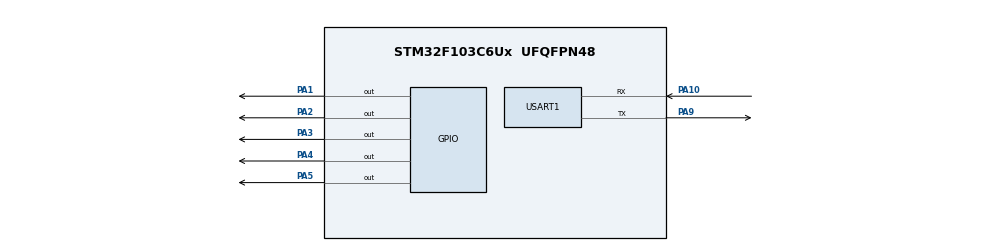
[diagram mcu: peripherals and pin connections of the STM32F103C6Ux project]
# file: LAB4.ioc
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Mcu.Family=STM32F1
Mcu.Name=STM32F103C6Ux
Mcu.Package=UFQFPN48
NVIC.PriorityGroup=NVIC_PRIORITYGROUP_4
NVIC.TIM2_IRQn=true\:0\:0\:false\:false\:true\:true\:true
PA1.Signal=GPIO_Output
PA10.Mode=Asynchronous
PA10.Signal=USART1_RX
PA2.Signal=GPIO_Output
PA3.Signal=GPIO_Output
PA4.Signal=GPIO_Output
PA5.Signal=GPIO_Output
PA9.Mode=Asynchronous
PA9.Signal=USART1_TX
ProjectManager.HeapSize=0x200
ProjectManager.StackSize=0x400
ProjectManager.TargetToolchain=STM32CubeIDE
RCC.APB1Freq_Value=8000000
RCC.APB2Freq_Value=8000000
TIM2.Period=9
TIM2.Prescaler=7999
USART1.VirtualMode=VM_ASYNC
VP_SYS_VS_ND.Mode=No_Debug
VP_TIM2_VS_ClockSourceINT.Mode=Internal
board=custom

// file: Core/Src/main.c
/* USER CODE BEGIN Header */
/**
  ******************************************************************************
  * @file           : main.c
  * @brief          : Main program body
  ******************************************************************************
  * @attention
  *
  * <h2><center>&copy; Copyright (c) 2026 STMicroelectronics.
  * All rights reserved.</center></h2>
  *
  * This software component is licensed by ST under BSD 3-Clause license,
  * the "License"; You may not use this file except in compliance with the
  * License. You may obtain a copy of the License at:
  *                        opensource.org/licenses/BSD-3-Clause
  *
  ******************************************************************************
  */
/* USER CODE END Header */
#include "main.h"

/* USER CODE BEGIN Includes */
#include "scheduler.h"
#include <stdarg.h>
#include <stdio.h>
/* USER CODE END Includes */

/* USER CODE BEGIN PD */
#define UART_TX_BUFFER_SIZE 512U
/* USER CODE END PD */

TIM_HandleTypeDef htim2;

UART_HandleTypeDef huart1;

/* USER CODE BEGIN PV */
static char uart_tx_buffer[UART_TX_BUFFER_SIZE];
static uint32_t uart_tx_head;
static uint32_t uart_tx_tail;
static volatile uint32_t last_tick_callback_ms;
static uint32_t cancelled_task_id;
/* USER CODE END PV */

void SystemClock_Config(void);
static void MX_GPIO_Init(void);
static void MX_TIM2_Init(void);
static void MX_USART1_UART_Init(void);

/* USER CODE BEGIN 0 */
static void UART_Printf(const char *format, ...)
{
    char message[96];
    va_list arguments;
    va_start(arguments, format);
    int length = vsnprintf(message, sizeof(message), format, arguments);
    va_end(arguments);

    if (length < 0 || (uint32_t)length >= sizeof(message)) {
        Error_Handler();
    }

    uint32_t free_bytes =
        (uart_tx_tail + UART_TX_BUFFER_SIZE - uart_tx_head - 1U)
        % UART_TX_BUFFER_SIZE;
    if ((uint32_t)length > free_bytes) {
        Error_Handler();
    }

    for (int i = 0; i < length; i++) {
        uart_tx_buffer[uart_tx_head] = message[i];
        uart_tx_head = (uart_tx_head + 1U) % UART_TX_BUFFER_SIZE;
    }
}

static void UART_Poll(void)
{
    if (uart_tx_tail != uart_tx_head &&
        __HAL_UART_GET_FLAG(&huart1, UART_FLAG_TXE) != RESET) {
        huart1.Instance->DR = (uint8_t)uart_tx_buffer[uart_tx_tail];
        uart_tx_tail = (uart_tx_tail + 1U) % UART_TX_BUFFER_SIZE;
    }
}

static void Log_Event(const char *name)
{
    UART_Printf("%s t=%lu ms\r\n", name, (unsigned long)get_time());
}

static uint32_t Add_Task(void (*function)(void),
                         uint32_t delay_ticks, uint32_t period_ticks)
{
    uint32_t id = SCH_Add_Task(function, delay_ticks, period_ticks);
    if (id == 0U) {
        Error_Handler();
    }
    return id;
}

static void Toggle_LED_And_Log(uint16_t pin, const char *name)
{
    HAL_GPIO_TogglePin(GPIOA, pin);
    const char *state = HAL_GPIO_ReadPin(GPIOA, pin) == GPIO_PIN_SET ? "ON" : "OFF";
    UART_Printf("%s %s t=%lu ms\r\n", name, state, (unsigned long)get_time());
}

static void Task_LED1(void)
{
    Toggle_LED_And_Log(GPIO_PIN_1, "LED1");
}

static void Task_LED2(void)
{
    Toggle_LED_And_Log(GPIO_PIN_2, "LED2");
}

static void Task_LED3(void)
{
    Toggle_LED_And_Log(GPIO_PIN_3, "LED3");
}

static void Task_LED4(void)
{
    Toggle_LED_And_Log(GPIO_PIN_4, "LED4");
}

static void Task_LED5(void)
{
    Toggle_LED_And_Log(GPIO_PIN_5, "LED5");
}

static void Task_Tick10ms(void)
{
    last_tick_callback_ms = get_time();
}

static void Task_OneShot70ms(void)
{
    Log_Event("ONESHOT 70ms");
}

static void Task_OneShot130ms(void)
{
    Log_Event("ONESHOT 130ms");
}

static void Task_OneShot210ms(void)
{
    Log_Event("ONESHOT 210ms");
}

static void Task_Cancelled(void)
{
    Log_Event("ERROR: cancelled task ran");
    Error_Handler();
}

static void Task_DeleteDemo(void)
{
    uint8_t result = SCH_Delete_Task(cancelled_task_id);
    UART_Printf("DELETE one-shot result=%u t=%lu ms\r\n",
                (unsigned int)result, (unsigned long)get_time());
    if (result != 0U) {
        Error_Handler();
    }
}

/* USER CODE END 0 */

int main(void)
{

  /* MCU Configuration--------------------------------------------------------*/

  /* Reset of all peripherals, Initializes the Flash interface and the Systick. */
  HAL_Init();

  /* Configure the system clock */
  SystemClock_Config();

  /* Initialize all configured peripherals */
  MX_GPIO_Init();
  MX_TIM2_Init();
  MX_USART1_UART_Init();
  /* USER CODE BEGIN 2 */
  SCH_Init();
  UART_Printf("LAB4: tick=10ms, UART=115200 8N1\r\n");
  UART_Printf("LED periods: 500 1000 1500 2000 2500 ms\r\n");

  Add_Task(Task_LED1, 50, 50);
  Add_Task(Task_LED2, 100, 100);
  Add_Task(Task_LED3, 150, 150);
  Add_Task(Task_LED4, 200, 200);
  Add_Task(Task_LED5, 250, 250);
  Add_Task(Task_Tick10ms, 1, 1);

  Add_Task(Task_OneShot210ms, 21, 0);
  Add_Task(Task_OneShot70ms, 7, 0);
  Add_Task(Task_OneShot130ms, 13, 0);

  cancelled_task_id = Add_Task(Task_Cancelled, 100, 0);
  Add_Task(Task_DeleteDemo, 60, 0);

  __HAL_TIM_SET_COUNTER(&htim2, 0);
  __HAL_TIM_CLEAR_FLAG(&htim2, TIM_FLAG_UPDATE);
  if (HAL_TIM_Base_Start_IT(&htim2) != HAL_OK) {
      Error_Handler();
  }
  /* USER CODE END 2 */

  /* Infinite loop */
  while (1)
  {
    /* USER CODE BEGIN 3 */
    SCH_Dispatch_Tasks();
    UART_Poll();
  }
  /* USER CODE END 3 */
}

void SystemClock_Config(void)
{
  RCC_OscInitTypeDef RCC_OscInitStruct = {0};
  RCC_ClkInitTypeDef RCC_ClkInitStruct = {0};

  /** Initializes the RCC Oscillators according to the specified parameters
  * in the RCC_OscInitTypeDef structure.
  */
  RCC_OscInitStruct.OscillatorType = RCC_OSCILLATORTYPE_HSI;
  RCC_OscInitStruct.HSIState = RCC_HSI_ON;
  RCC_OscInitStruct.HSICalibrationValue = RCC_HSICALIBRATION_DEFAULT;
  RCC_OscInitStruct.PLL.PLLState = RCC_PLL_NONE;
  if (HAL_RCC_OscConfig(&RCC_OscInitStruct) != HAL_OK)
  {
    Error_Handler();
  }
  /** Initializes the CPU, AHB and APB buses clocks
  */
  RCC_ClkInitStruct.ClockType = RCC_CLOCKTYPE_HCLK|RCC_CLOCKTYPE_SYSCLK
                              |RCC_CLOCKTYPE_PCLK1|RCC_CLOCKTYPE_PCLK2;
  RCC_ClkInitStruct.SYSCLKSource = RCC_SYSCLKSOURCE_HSI;
  RCC_ClkInitStruct.AHBCLKDivider = RCC_SYSCLK_DIV1;
  RCC_ClkInitStruct.APB1CLKDivider = RCC_HCLK_DIV1;
  RCC_ClkInitStruct.APB2CLKDivider = RCC_HCLK_DIV1;

  if (HAL_RCC_ClockConfig(&RCC_ClkInitStruct, FLASH_LATENCY_0) != HAL_OK)
  {
    Error_Handler();
  }
}

static void MX_TIM2_Init(void)
{

  TIM_ClockConfigTypeDef sClockSourceConfig = {0};
  TIM_MasterConfigTypeDef sMasterConfig = {0};

  htim2.Instance = TIM2;
  htim2.Init.Prescaler = 7999;
  htim2.Init.CounterMode = TIM_COUNTERMODE_UP;
  htim2.Init.Period = 9;
  htim2.Init.ClockDivision = TIM_CLOCKDIVISION_DIV1;
  htim2.Init.AutoReloadPreload = TIM_AUTORELOAD_PRELOAD_DISABLE;
  if (HAL_TIM_Base_Init(&htim2) != HAL_OK)
  {
    Error_Handler();
  }
  sClockSourceConfig.ClockSource = TIM_CLOCKSOURCE_INTERNAL;
  if (HAL_TIM_ConfigClockSource(&htim2, &sClockSourceConfig) != HAL_OK)
  {
    Error_Handler();
  }
  sMasterConfig.MasterOutputTrigger = TIM_TRGO_RESET;
  sMasterConfig.MasterSlaveMode = TIM_MASTERSLAVEMODE_DISABLE;
  if (HAL_TIMEx_MasterConfigSynchronization(&htim2, &sMasterConfig) != HAL_OK)
  {
    Error_Handler();
  }

}

static void MX_USART1_UART_Init(void)
{

  huart1.Instance = USART1;
  huart1.Init.BaudRate = 115200;
  huart1.Init.WordLength = UART_WORDLENGTH_8B;
  huart1.Init.StopBits = UART_STOPBITS_1;
  huart1.Init.Parity = UART_PARITY_NONE;
  huart1.Init.Mode = UART_MODE_TX_RX;
  huart1.Init.HwFlowCtl = UART_HWCONTROL_NONE;
  huart1.Init.OverSampling = UART_OVERSAMPLING_16;
  if (HAL_UART_Init(&huart1) != HAL_OK)
  {
    Error_Handler();
  }

}

static void MX_GPIO_Init(void)
{
  GPIO_InitTypeDef GPIO_InitStruct = {0};

  /* GPIO Ports Clock Enable */
  __HAL_RCC_GPIOA_CLK_ENABLE();

  /*Configure GPIO pin Output Level */
  HAL_GPIO_WritePin(GPIOA, GPIO_PIN_1|GPIO_PIN_2|GPIO_PIN_3|GPIO_PIN_4
                          |GPIO_PIN_5, GPIO_PIN_RESET);

  /*Configure GPIO pins : PA1 PA2 PA3 PA4
                           PA5 */
  GPIO_InitStruct.Pin = GPIO_PIN_1|GPIO_PIN_2|GPIO_PIN_3|GPIO_PIN_4
                          |GPIO_PIN_5;
  GPIO_InitStruct.Mode = GPIO_MODE_OUTPUT_PP;
  GPIO_InitStruct.Pull = GPIO_NOPULL;
  GPIO_InitStruct.Speed = GPIO_SPEED_FREQ_LOW;
  HAL_GPIO_Init(GPIOA, &GPIO_InitStruct);

}

/* USER CODE BEGIN 4 */

void HAL_TIM_PeriodElapsedCallback(TIM_HandleTypeDef *htim)
{
    if (htim->Instance == TIM2) {
        SCH_Update();
    }
}

/* USER CODE END 4 */

void Error_Handler(void)
{
  __disable_irq();
  while (1)
  {
  }
}

/************************ (C) COPYRIGHT STMicroelectronics *****END OF FILE****/
